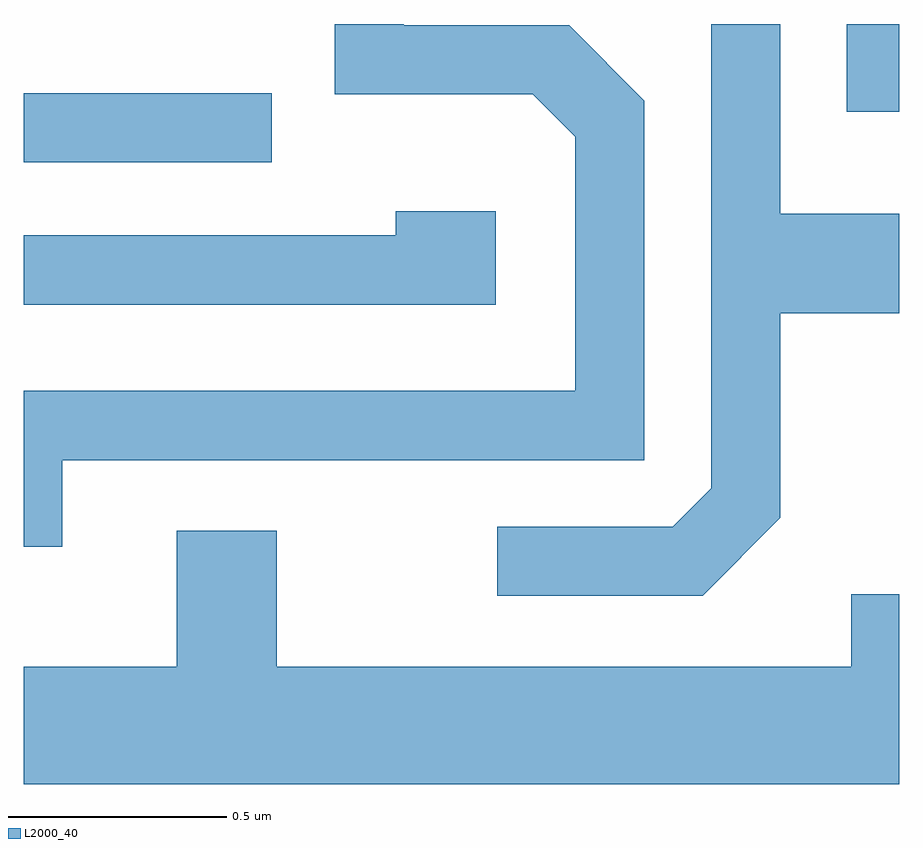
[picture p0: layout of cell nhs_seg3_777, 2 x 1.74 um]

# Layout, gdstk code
import gdstk
lib = gdstk.Library(unit=1e-6, precision=1e-09)
def R(c, l, rs):  # rectangles x0, y0, x1, y1
    for r in rs: c.add(gdstk.rectangle(r[:2], r[2:], *l))
def P(c, l, *ps):  # polygons
    for p in ps: c.add(gdstk.Polygon(p, *l))
L2000_40 = (2000, 40)

nhs_seg3_777 = lib.new_cell('nhs_seg3_777')
R(nhs_seg3_777, L2000_40, [(190.611,1209.576,191.178,1209.734), (192.491,1209.691,192.611,1209.892)])
P(nhs_seg3_777, L2000_40, [(190.699,1208.896),(192.029,1208.896),(192.029,1209.717),(191.857,1209.889),(191.479,1209.889),(191.479,1209.892),(191.321,1209.892),(191.321,1209.731),(191.774,1209.731),(191.871,1209.634),(191.871,1209.054),(190.611,1209.054),(190.611,1208.698),(190.699,1208.698)],
  [(192.339,1208.764),(192.339,1209.231),(192.611,1209.231),(192.611,1209.459),(192.339,1209.459),(192.339,1209.892),(192.181,1209.892),(192.181,1208.832),(192.094,1208.744),(191.693,1208.744),(191.693,1208.586),(192.162,1208.586)],
  [(191.689,1209.464),(191.461,1209.464),(191.461,1209.409),(190.611,1209.409),(190.611,1209.251),(191.689,1209.251)],
  [(192.611,1208.589),(192.501,1208.589),(192.501,1208.424),(191.189,1208.424),(191.189,1208.734),(190.961,1208.734),(190.961,1208.424),(190.611,1208.424),(190.611,1208.156),(192.611,1208.156)])

lib.write_gds('nhs_seg3_777.gds')
